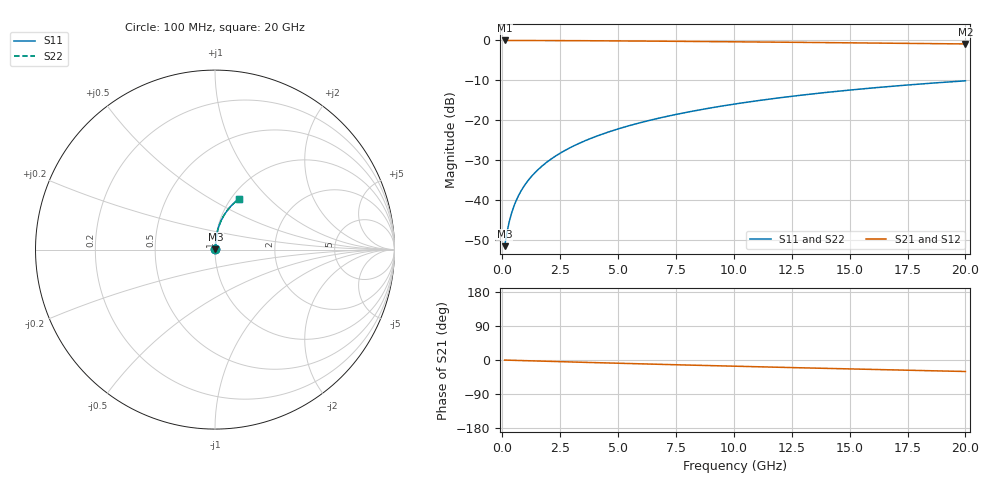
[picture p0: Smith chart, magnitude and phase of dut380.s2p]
! Touchstone file exported from HFSS 2024.1.0
!  File:  C:/UserFiles/LocalFiles/RDL_TSV_Batchsim/temp_RDL_bottom_380_1779613781.aedt
!  Generated:  05:12:28 PM May 24, 2026
!  Design:  RDL_bottom
!  Project:  temp_RDL_bottom_380_1779613781
!  Setup:  Setup1
!  Solution:  Sweep
! Variables:
!  dtsv = 10.80580581um
!  hbump = 3um
!  htsv = 79.13um
!  ldown = 410.59um
!  lrdl = 100um
!  p = 40
!  p1 = 46.4um
!  rhole = 1um
!  t = 450um
!  tdown = 4.22um
!  trdl = 3.915915916um
!  wdown = 17.93um
!  wrdl = 20um
# GHz S MA R 50.000000
! Terminal data exported
! Port[1] = RDL1_T1
! Port[2] = RDL1_T2
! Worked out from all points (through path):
!   200 points, 100 MHz to 20 GHz, reference 50 ohm
!   highest |S21| = -0.02 dB at 100 MHz (marker M1); lowest = -0.9 dB at 20 GHz (marker M2)
!   group delay of S21, straight-line fit = 4.19 ps
!   lowest |S11| = -51.5 dB at 100 MHz (marker M3), VSWR 1.01, Z = 50.2 + j0.166 ohm
!   |S11| at or under -10 dB: start of sweep to end of sweep
!   |S22| runs from -51.5 to -10.1 dB; largest |S21 - S12| = 3.5e-15
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0.1  0.002647 38.6  0.9979 -0.2  0.9979 -0.2  0.002647 38.6
! Gamma 0 0 0 0
! Port Impedance 50 0 50 0
0.2  0.003914 57.0  0.9978 -0.4  0.9978 -0.4  0.003914 57.0
0.3  0.005366 65.6  0.9977 -0.5  0.9977 -0.5  0.005366 65.6
0.4  0.006862 70.3  0.9976 -0.7  0.9976 -0.7  0.006862 70.3
0.5  0.008364 73.3  0.9975 -0.9  0.9975 -0.9  0.008365 73.3
0.6  0.009864 75.4  0.9974 -1.1  0.9974 -1.1  0.009865 75.4
0.8  0.01286 78.1  0.9972 -1.4  0.9972 -1.4  0.01286 78.1
1.1  0.01736 80.5  0.9968 -1.9  0.9968 -1.9  0.01736 80.5
1.5  0.02339 82.3  0.9962 -2.6  0.9962 -2.6  0.0234 82.3
1.8  0.02795 83.1  0.9957 -3.2  0.9957 -3.2  0.02795 83.1
2.1  0.03253 83.6  0.9951 -3.7  0.9951 -3.7  0.03253 83.6
2.7  0.04174 84.2  0.9936 -4.7  0.9936 -4.7  0.04174 84.2
3.5  0.05416 84.3  0.9911 -6.1  0.9911 -6.1  0.05416 84.3
4.2  0.06514 84.1  0.9886 -7.2  0.9886 -7.2  0.06514 84.1
5  0.07782 83.7  0.9853 -8.6  0.9853 -8.6  0.07781 83.7
5.9  0.09223 83.0  0.9814 -10.0  0.9814 -10.0  0.09223 83.0
6.8  0.1068 82.2  0.9771 -11.5  0.9771 -11.5  0.1068 82.2
8.4  0.1328 80.5  0.969 -13.9  0.969 -13.9  0.1328 80.5
10.1  0.1606 78.4  0.96 -16.5  0.96 -16.5  0.1606 78.4
13.4  0.2137 73.9  0.9417 -21.3  0.9417 -21.3  0.2136 73.9
16.7  0.2643 69.3  0.9225 -25.9  0.9225 -25.9  0.2643 69.2
20  0.3117 64.7  0.9027 -30.3  0.9027 -30.3  0.3116 64.7
